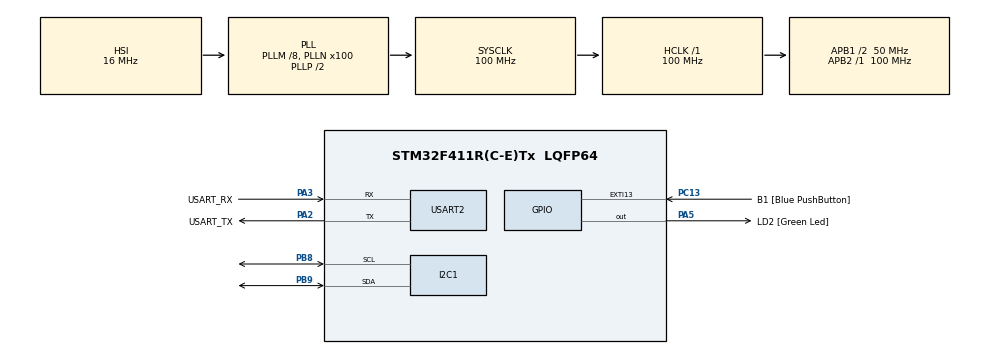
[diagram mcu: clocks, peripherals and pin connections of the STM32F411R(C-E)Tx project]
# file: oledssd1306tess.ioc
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Mcu.Family=STM32F4
Mcu.Name=STM32F411R(C-E)Tx
Mcu.Package=LQFP64
NVIC.PriorityGroup=NVIC_PRIORITYGROUP_0
PA13.GPIO_Label=TMS
PA13.Mode=Serial_Wire
PA13.Signal=SYS_JTMS-SWDIO
PA14.GPIO_Label=TCK
PA14.Mode=Serial_Wire
PA14.Signal=SYS_JTCK-SWCLK
PA2.GPIO_Label=USART_TX
PA2.Mode=Asynchronous
PA2.Signal=USART2_TX
PA3.GPIO_Label=USART_RX
PA3.Mode=Asynchronous
PA3.Signal=USART2_RX
PA5.GPIO_Label=LD2 [Green Led]
PA5.Signal=GPIO_Output
PB3.GPIO_Label=SWO
PB3.Signal=SYS_JTDO-SWO
PB8.Mode=I2C
PB8.Signal=I2C1_SCL
PB9.Mode=I2C
PB9.Signal=I2C1_SDA
PC13-ANTI_TAMP.GPIO_Label=B1 [Blue PushButton]
PC13-ANTI_TAMP.GPIO_ModeDefaultEXTI=GPIO_MODE_IT_FALLING
PC13-ANTI_TAMP.Signal=GPXTI13
PC14-OSC32_IN.Mode=LSE-External-Oscillator
PC14-OSC32_IN.Signal=RCC_OSC32_IN
PC15-OSC32_OUT.Mode=LSE-External-Oscillator
PC15-OSC32_OUT.Signal=RCC_OSC32_OUT
PH0\ -\ OSC_IN.Mode=HSE-External-Clock-Source
PH0\ -\ OSC_IN.Signal=RCC_OSC_IN
PH1\ -\ OSC_OUT.Mode=HSE-External-Clock-Source
PH1\ -\ OSC_OUT.Signal=RCC_OSC_OUT
ProjectManager.HeapSize=0x200
ProjectManager.StackSize=0x400
ProjectManager.TargetToolchain=STM32CubeIDE
RCC.48MHZClocksFreq_Value=50000000
RCC.AHBFreq_Value=100000000
RCC.APB1CLKDivider=RCC_HCLK_DIV2
RCC.APB1Freq_Value=50000000
RCC.APB1TimFreq_Value=100000000
RCC.APB2Freq_Value=100000000
RCC.APB2TimFreq_Value=100000000
RCC.CortexFreq_Value=100000000
RCC.FLatency-AdvancedSettings=FLASH_LATENCY_3
RCC.HCLKFreq_Value=100000000
RCC.HSE_VALUE=8000000
RCC.HSI_VALUE=16000000
RCC.PLLM=8
RCC.PLLN=100
RCC.SYSCLKFreq_VALUE=100000000
RCC.SYSCLKSource=RCC_SYSCLKSOURCE_PLLCLK
RCC.VCOOutputFreq_Value=200000000
USART2.VirtualMode=VM_ASYNC
board=NUCLEO-F411RE

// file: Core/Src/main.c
/* USER CODE BEGIN Header */
/**
  ******************************************************************************
  * @file           : main.c
  * @brief          : Main program body
  ******************************************************************************
  * @attention
  *
  * Copyright (c) 2026 STMicroelectronics.
  * All rights reserved.
  *
  * This software is licensed under terms that can be found in the LICENSE file
  * in the root directory of this software component.
  * If no LICENSE file comes with this software, it is provided AS-IS.
  *
  ******************************************************************************
  */
/* USER CODE END Header */
#include "main.h"
#include "i2c.h"
#include "usart.h"
#include "gpio.h"

/* USER CODE BEGIN Includes */
#include <stdio.h>
#include "sh1106.h"
/* USER CODE END Includes */

void SystemClock_Config(void);

/* USER CODE BEGIN 0 */
int _write(int file, char *ptr, int len)
{
    HAL_UART_Transmit(&huart2, (uint8_t*)ptr, len, HAL_MAX_DELAY);
    return len;
}
void I2C_Scan()
 {
     printf("Scanning I2C bus...\r\n");

     for (uint8_t addr = 1; addr < 128; addr++)
     {
         if (HAL_I2C_IsDeviceReady(&hi2c1, addr << 1, 3, 10) == HAL_OK)
         {
             printf("Found device at: 0x%02X\r\n", addr);
         }
     }

     printf("Scan done.\r\n");
 }
/* USER CODE END 0 */

int main(void)
{

  /* MCU Configuration--------------------------------------------------------*/

  /* Reset of all peripherals, Initializes the Flash interface and the Systick. */
  HAL_Init();

  /* Configure the system clock */
  SystemClock_Config();

  /* Initialize all configured peripherals */
  MX_GPIO_Init();
  MX_I2C1_Init();
  MX_USART2_UART_Init();
  /* USER CODE BEGIN 2 */
  HAL_Delay(200);
  I2C_Scan();
  HAL_Delay(200);

  uint8_t cmd[2];

  cmd[0] = 0x00; cmd[1] = 0xAE;   // OFF
  HAL_I2C_Master_Transmit(&hi2c1, 0x3C<<1, cmd, 2, 100);

  cmd[0] = 0x00; cmd[1] = 0xAD;   // external VCC
  HAL_I2C_Master_Transmit(&hi2c1, 0x3C<<1, cmd, 2, 100);
  cmd[0] = 0x00; cmd[1] = 0x8A;
  HAL_I2C_Master_Transmit(&hi2c1, 0x3C<<1, cmd, 2, 100);

  cmd[0] = 0x00; cmd[1] = 0x81;   // contrast max
  HAL_I2C_Master_Transmit(&hi2c1, 0x3C<<1, cmd, 2, 100);
  cmd[0] = 0x00; cmd[1] = 0xFF;
  HAL_I2C_Master_Transmit(&hi2c1, 0x3C<<1, cmd, 2, 100);

  cmd[0] = 0x00; cmd[1] = 0xA5;   // all pixels ON
  HAL_I2C_Master_Transmit(&hi2c1, 0x3C<<1, cmd, 2, 100);

  cmd[0] = 0x00; cmd[1] = 0xAF;   // ON
  HAL_I2C_Master_Transmit(&hi2c1, 0x3C<<1, cmd, 2, 100);

  /* USER CODE END 2 */

  /* Infinite loop */
  while (1)
  {

  }
}

void SystemClock_Config(void)
{
  RCC_OscInitTypeDef RCC_OscInitStruct = {0};
  RCC_ClkInitTypeDef RCC_ClkInitStruct = {0};

  /** Configure the main internal regulator output voltage
  */
  __HAL_RCC_PWR_CLK_ENABLE();
  __HAL_PWR_VOLTAGESCALING_CONFIG(PWR_REGULATOR_VOLTAGE_SCALE1);

  /** Initializes the RCC Oscillators according to the specified parameters
  * in the RCC_OscInitTypeDef structure.
  */
  RCC_OscInitStruct.OscillatorType = RCC_OSCILLATORTYPE_HSI;
  RCC_OscInitStruct.HSIState = RCC_HSI_ON;
  RCC_OscInitStruct.HSICalibrationValue = RCC_HSICALIBRATION_DEFAULT;
  RCC_OscInitStruct.PLL.PLLState = RCC_PLL_ON;
  RCC_OscInitStruct.PLL.PLLSource = RCC_PLLSOURCE_HSI;
  RCC_OscInitStruct.PLL.PLLM = 8;
  RCC_OscInitStruct.PLL.PLLN = 100;
  RCC_OscInitStruct.PLL.PLLP = RCC_PLLP_DIV2;
  RCC_OscInitStruct.PLL.PLLQ = 4;
  if (HAL_RCC_OscConfig(&RCC_OscInitStruct) != HAL_OK)
  {
    Error_Handler();
  }

  /** Initializes the CPU, AHB and APB buses clocks
  */
  RCC_ClkInitStruct.ClockType = RCC_CLOCKTYPE_HCLK|RCC_CLOCKTYPE_SYSCLK
                              |RCC_CLOCKTYPE_PCLK1|RCC_CLOCKTYPE_PCLK2;
  RCC_ClkInitStruct.SYSCLKSource = RCC_SYSCLKSOURCE_PLLCLK;
  RCC_ClkInitStruct.AHBCLKDivider = RCC_SYSCLK_DIV1;
  RCC_ClkInitStruct.APB1CLKDivider = RCC_HCLK_DIV2;
  RCC_ClkInitStruct.APB2CLKDivider = RCC_HCLK_DIV1;

  if (HAL_RCC_ClockConfig(&RCC_ClkInitStruct, FLASH_LATENCY_3) != HAL_OK)
  {
    Error_Handler();
  }
}

void Error_Handler(void)
{
  __disable_irq();
  while (1)
  {
  }
}
